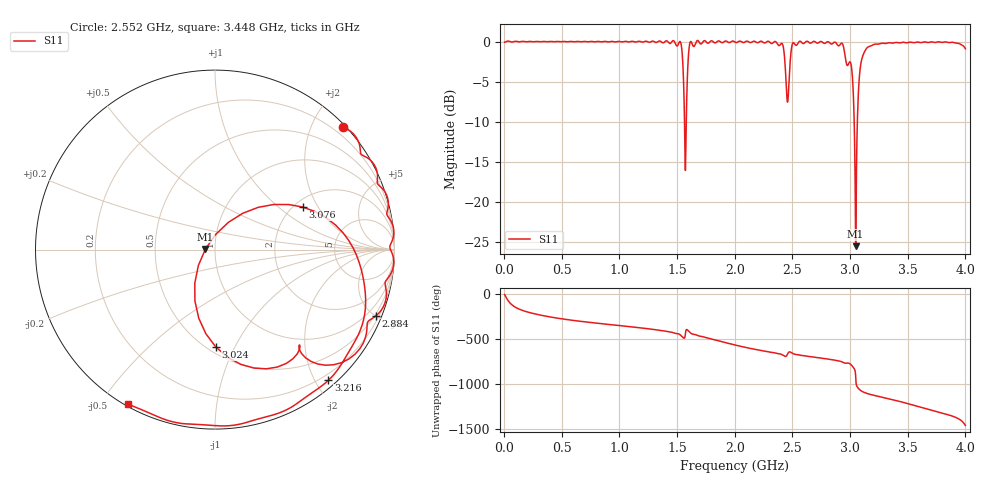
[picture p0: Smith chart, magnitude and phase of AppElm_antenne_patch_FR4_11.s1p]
! TOUCHSTONE file generated by CST MICROWAVE STUDIO
! Date and time: Tue Jun  7 22:11:21 2022
! Project name: AppElm_antenne_patch_FR4.cst
! Parameters = {L=45; W=58.5; e=0.035; h=1.6; lambda=0.190476; ls=120; w0=1.6; w1=0.6663; ws=120; y0=20; y1=23.81}
! Header version: 2018
! Port assignment regex: !\s*Touchstone port\s*([0-9]+)\s*=\s*(CST MWS port|CST DS port)\s*([0-9]+|Zmin|Zmax)\s*\(\"(.*)\"\)(\s*mode\s*([0-9]+))?.*
! Touchstone port assignment:
! Touchstone port 1 = CST MWS port 1 ("")
# GHz S MA R 50
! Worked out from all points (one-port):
!   1000 points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, 4 MHz to 4 GHz, reference 50 ohm
!   lowest |S11| = -25.5 dB at 3.048 GHz (marker M1), VSWR 1.11, Z = 45 + j0.318 ohm
!   |S11| at or under -10 dB: 1.564 GHz to 1.58 GHz (15.45 MHz wide, 0.983 % of centre); 3.036 GHz to 3.063 GHz (27.56 MHz wide, 0.904 % of centre)
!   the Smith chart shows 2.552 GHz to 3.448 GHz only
!   S11 on the Smith chart (normalised r, x): 2.552 GHz: 0.05, +2.49; 2.884 GHz: 0.42, -5.00; 3.024 GHz: 0.55, -0.84; 3.076 GHz: 2.22, +1.49; 3.216 GHz: 0.11, -2.19; 3.448 GHz: 0.01, -0.59
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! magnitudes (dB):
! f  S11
! 4 MHz  -0.1
! 504 MHz  0.0
! 1.004 GHz  0.0
! 1.504 GHz  -0.5
! 1.536 GHz  -0.4
! 1.56 GHz  -7.1
! 1.572 GHz  -16.1
! 1.584 GHz  -6.9
! 1.604 GHz  -0.8
! 1.62 GHz  0.0
! 2.004 GHz  -0.1
! 2.404 GHz  -0.2
! 2.456 GHz  -7.5
! 2.504 GHz  -0.2
! 2.552 GHz  -0.1
! 2.884 GHz  -0.3
! 3.004 GHz  -2.6
! 3.024 GHz  -5.3
! 3.036 GHz  -10.2
! 3.048 GHz  -25.5
! 3.064 GHz  -9.5
! 3.076 GHz  -5.3
! 3.092 GHz  -2.9
! 3.112 GHz  -1.7
! 3.216 GHz  -0.3
! 3.448 GHz  -0.1
! 3.504 GHz  -0.1
! 4 GHz  -0.9
